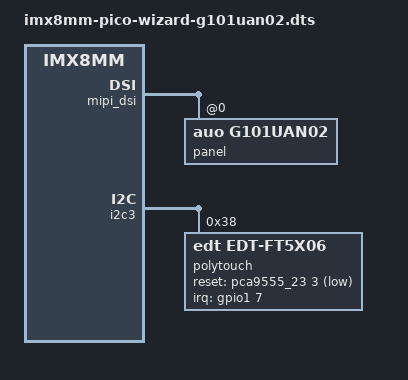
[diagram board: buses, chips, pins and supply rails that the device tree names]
/*
 * Copyright 2018 Technexion Ltd.
 * Copyright 2018 NXP
 *
 * Author: Richard Hu <richard.hu@technexion.com>
 *
 * This program is free software; you can redistribute it and/or
 * modify it under the terms of the GNU General Public License
 * as published by the Free Software Foundation; either version 2
 * of the License, or (at your option) any later version.
 *
 * This program is distributed in the hope that it will be useful,
 * but WITHOUT ANY WARRANTY; without even the implied warranty of
 * MERCHANTABILITY or FITNESS FOR A PARTICULAR PURPOSE.  See the
 * GNU General Public License for more details.
 */

#include "imx8mm-pico-wizard.dts"

/ {
	backlight_mipi {
		status = "okay";
	};
};

&mipi_dsi {
	status = "okay";

	panel@0 {
		compatible = "auo,g101uan02";
		reg = <0>;
		status = "okay";
	};
};

&i2c3 {
	polytouch: edt-ft5826@38 {
		compatible = "edt,edt-ft5x06";
		reg = <0x38>;
		pinctrl-names = "default";
		pinctrl-0 = <&pinctrl_touch_irq>;
		interrupt-parent = <&gpio1>;
		interrupts = <7 IRQ_TYPE_EDGE_FALLING>;
		reset-gpios = <&pca9555_23 3 GPIO_ACTIVE_LOW>;
		touchscreen-size-x = <1920>;
		touchscreen-size-y = <1200>;
	};
};

